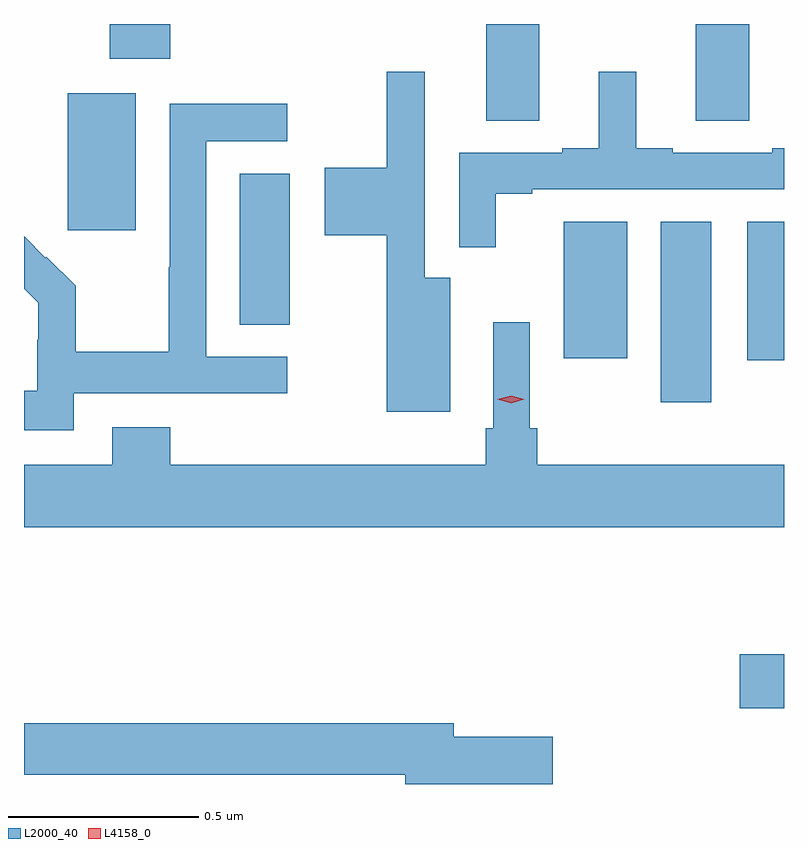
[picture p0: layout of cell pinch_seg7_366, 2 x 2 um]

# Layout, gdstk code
import gdstk
lib = gdstk.Library(unit=1e-6, precision=1e-09)
def R(c, l, rs):  # rectangles x0, y0, x1, y1
    for r in rs: c.add(gdstk.rectangle(r[:2], r[2:], *l))
def P(c, l, *ps):  # polygons
    for p in ps: c.add(gdstk.Polygon(p, *l))
L2000_40 = (2000, 40)
L4158_0 = (4158, 0)

pinch_seg7_366 = lib.new_cell('pinch_seg7_366')
R(pinch_seg7_366, L2000_40, [(450.384,1022.783,450.501,1022.925), (450.176,1023.588,450.31,1024.064), (450.404,1023.699,450.501,1024.064), (449.921,1023.705,450.088,1024.064), (449.069,1023.793,449.2,1024.19), (448.616,1024.041,448.795,1024.402), (449.717,1024.33,449.857,1024.584), (450.269,1024.33,450.409,1024.584), (448.726,1024.493,448.886,1024.584)])
P(pinch_seg7_366, L2000_40, [(449.743,1024.137),(449.839,1024.137),(449.839,1024.149),(450.501,1024.149),(450.501,1024.257),(450.47,1024.257),(450.47,1024.245),(450.208,1024.245),(450.208,1024.257),(450.112,1024.257),(450.112,1024.459),(450.014,1024.459),(450.014,1024.257),(449.918,1024.257),(449.918,1024.245),(449.646,1024.245),(449.646,1023.996),(449.743,1023.996)],
  [(449.623,1023.916),(449.556,1023.916),(449.556,1024.459),(449.455,1024.459),(449.455,1024.206),(449.292,1024.206),(449.292,1024.028),(449.455,1024.028),(449.455,1023.564),(449.623,1023.564)],
  [(448.632,1023.612),(449.194,1023.612),(449.194,1023.708),(448.98,1023.708),(448.98,1024.275),(449.194,1024.275),(449.194,1024.374),(448.884,1024.374),(448.884,1023.944),(448.882,1023.944),(448.882,1023.721),(448.637,1023.721),(448.637,1023.895),(448.56,1023.972),(448.557,1023.969),(448.501,1024.026),(448.501,1023.887),(448.538,1023.85),(448.538,1023.753),(448.536,1023.753),(448.536,1023.619),(448.501,1023.619),(448.501,1023.515),(448.632,1023.515)],
  [(450.501,1023.424),(449.852,1023.424),(449.852,1023.52),(449.832,1023.52),(449.832,1023.799),(449.736,1023.799),(449.736,1023.52),(449.716,1023.52),(449.716,1023.424),(448.886,1023.424),(448.886,1023.523),(448.733,1023.523),(448.733,1023.424),(448.501,1023.424),(448.501,1023.26),(450.501,1023.26)],
  [(449.893,1022.708),(449.632,1022.708),(449.632,1022.744),(448.501,1022.744),(448.501,1022.608),(449.504,1022.608),(449.504,1022.584),(449.893,1022.584)])
P(pinch_seg7_366, L4158_0, [(449.783,1023.586),(449.747,1023.596),(449.747,1023.596),(449.747,1023.596),(449.783,1023.606),(449.818,1023.596),(449.818,1023.596),(449.818,1023.596)])

lib.write_gds('pinch_seg7_366.gds')
